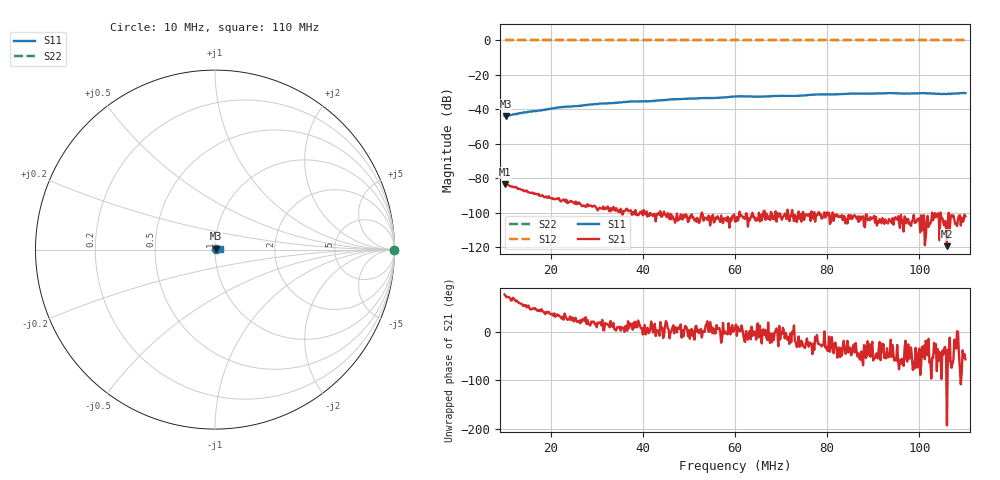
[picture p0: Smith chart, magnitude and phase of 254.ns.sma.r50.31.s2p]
! Anritsu VNA Master:  Model: MS2036C/10/77
! SN:  1601066
! /card0/usr/254.ns.sma.r50.31.s2p
! Existing Calibration Information:
! TYPE:  Current Settings,  Active Cal Settings
! TIME:  12/20/2017 02:10:05 PM,  12/20/2017 02:00:00 PM
! INTERNAL TEMP:  47.3 C,  47.0 C
! # POINTS:  501,  501
! START FREQ:  10.000 MHz,  10.000 MHz
! STOP FREQ:  110.000 MHz,  110.000 MHz
! SOURCE POWER:  High,  High
! IFBW:  100 Hz,  100 Hz
! AVG FACTOR:  1 ,  1
! REF PLANE 1:  0 mm,  0 mm
! REF PLANE 2:  0 mm,  0 mm
! CAL TYPE:  Full S11,  Full S11
! CAL METHOD:  SOLT,  SOLT
! CAL LINE TYPE:  Coax,  Coax
! DUT PORT 1:  N-Conn(F),  N-Conn(F)
! DUT PORT 2:  K-Conn(F),  K-Conn(F)
! CAL STATUS:  OK: Accuracy High,  --
# GHZ S DB R 50.0
! FREQ.GHZ  S11DB  S11A  S21DB  S21A  S12DB  S12A  S22DB  S22A
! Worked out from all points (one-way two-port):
!   501 points, 10 MHz to 110 MHz, reference 50 ohm
!   highest |S21| = -83.54 dB at 10 MHz (marker M1); lowest = -119.3 dB at 106 MHz (marker M2)
!   lowest |S11| = -43.8 dB at 10.2 MHz (marker M3), VSWR 1.01, Z = 50.3 + j0.578 ohm
!   |S11| at or under -10 dB: start of sweep to end of sweep
!   |S22| runs from 0.0 to 0.0 dB; largest |S21 - S12| = 1
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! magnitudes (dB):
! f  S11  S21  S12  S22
! 10 MHz  -43.8  -83.5  0.0  0.0
! 10.2 MHz  -43.8  -83.6  0.0  0.0
! 14 MHz  -42.0  -87.1  0.0  0.0
! 18.4 MHz  -40.2  -90.4  0.0  0.0
! 21.6 MHz  -38.9  -92.0  0.0  0.0
! 26.8 MHz  -37.7  -96.2  0.0  0.0
! 30.6 MHz  -36.7  -97.0  0.0  0.0
! 37.2 MHz  -35.5  -98.7  0.0  0.0
! 41 MHz  -35.4  -102.2  0.0  0.0
! 43.4 MHz  -34.8  -100.1  0.0  0.0
! 46.6 MHz  -34.1  -103.1  0.0  0.0
! 56.4 MHz  -33.3  -103.3  0.0  0.0
! 60 MHz  -32.5  -105.1  0.0  0.0
! 66.4 MHz  -32.6  -98.8  0.0  0.0
! 68.6 MHz  -32.2  -103.7  0.0  0.0
! 74.2 MHz  -32.0  -100.8  0.0  0.0
! 76.8 MHz  -31.4  -102.8  0.0  0.0
! 93.4 MHz  -30.5  -103.6  0.0  0.0
! 97.4 MHz  -30.7  -103.7  0.0  0.0
! 101 MHz  -30.5  -101.4  0.0  0.0
! 106 MHz  -31.0  -119.3  0.0  0.0
! 110 MHz  -30.6  -102.0  0.0  0.0
